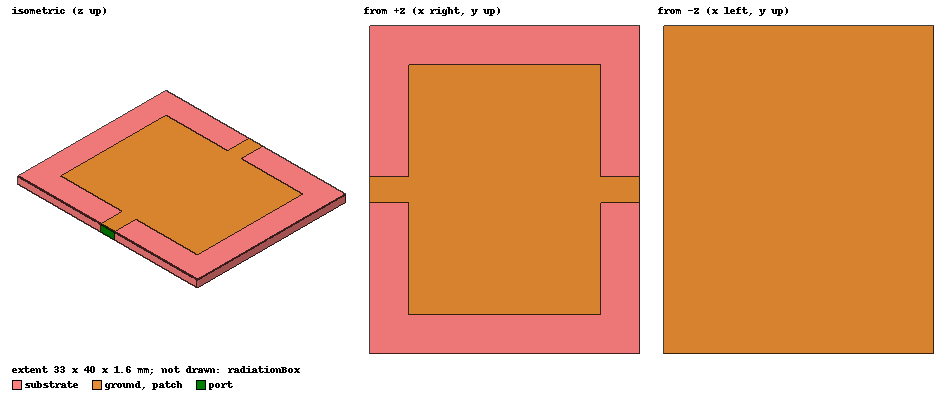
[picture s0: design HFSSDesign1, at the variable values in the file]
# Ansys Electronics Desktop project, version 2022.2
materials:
  vacuum: permittivity=1
  FR4_epoxy: permittivity=4.4 dielectric_loss_tangent=0.02
  air: permittivity=1.0006 permeability=1.0000004

design HFSSDesign1 (HFSS, DrivenModal, model units mm)
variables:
  pl = 23.43176mm
  pw = 30.42903mm
  sl = 33mm
  sw = 40mm
  fl = 12.85772mm
  fw = 3.05897mm
  sh = 1.6mm
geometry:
  patch = rectangle(corner=(-pl/2, -pw/2, 1.6mm), x_size=pl, y_size=pw)
  substrate [FR4_epoxy] = box(corner=(-sl/2, -sw/2, 0mm), size=(sl, sw, sh))
  ground = rectangle(corner=(-sl/2, -sw/2, 0mm), x_size=sl, y_size=sw)
  feedLine = rectangle(corner=(sl/2-fl, -fw/2, 1.6mm), x_size=fl, y_size=fw)
  patch.unite(feedLine)
  port = rectangle(corner=(sl/2, -fw/2, 0), y_size=fw, z_size=sh)
  radiationBox [air] = box(corner=(-sl/2, -sw/2, 0mm), size=(sl, sw, sh*20))
  feedLine2 = rectangle(corner=(-sl/2+fl, -fw/2, 1.6mm), x_size=-fl, y_size=fw)
  port2 = rectangle(corner=(-sl/2, -fw/2, 0), y_size=fw, z_size=sh)
  patch.unite(feedLine2)
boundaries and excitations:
  PerfE1: Perfect E Objects=[patch, ground]
  Radiation: Radiation Faces=radiationBox.face(+x, +y, +z, -x, -y)
  1: Lumped Port Objects=port Modes{Mode1{IntLine{(16.5, 0, 0) -> (16.5, 0, 1.6)} CharImp=Zpi RenormImp=50ohm}} Impedance=50ohm
  2: Lumped Port Objects=port2 Modes{Mode1{IntLine{(-16.5, 0, 0) -> (-16.5, 0, 1.6)} CharImp=Zpi RenormImp=50ohm}} Impedance=50ohm
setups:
  Setup1: HfssDriven Frequency=3GHz MaxDeltaS=0.02 MaximumPasses=10 MinimumPasses=1 MinimumConvergedPasses=1 PercentRefinement=30 BasisOrder=1 PortAccuracy=2 DrivenSolverType="Direct Solver"
    sweep Sweep: 1GHz to 5GHz step 0.1GHz; Type=Fast SaveFields
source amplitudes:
  1:1: 1 0deg
  2:1: 0W 0deg
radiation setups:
  Infinite Sphere1: Infinite Sphere Theta=0deg..180deg step 10deg Phi=0deg..360deg step 10deg
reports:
  S Parameter Plot 1: dB(S(1,1)) vs Freq on Setup1 : Sweep; markers m1 at 3GHz, m2 at 3.1GHz
  VSWR Plot 1: VSWR(1) vs Freq on Setup1 : Sweep; markers m1 at 3GHz
  rE Plot 1: rETotal vs Phi, Theta on Setup1 : LastAdaptive, Infinite Sphere1 [Freq=3GHz]
  S Parameter Plot 2: dB(S(2,1)) vs Freq on Setup1 : Sweep
